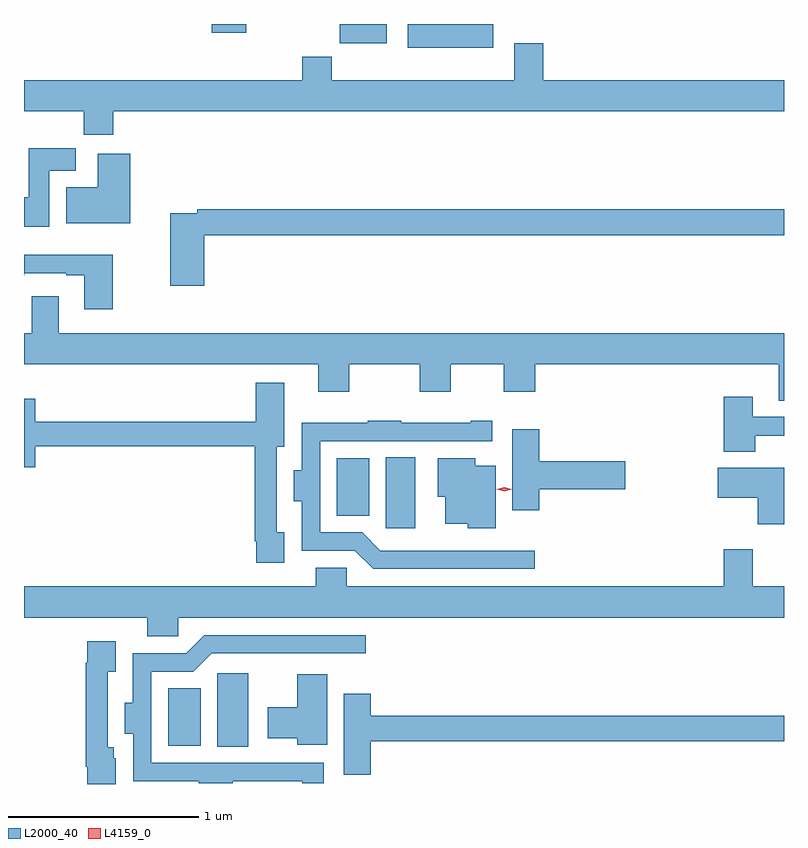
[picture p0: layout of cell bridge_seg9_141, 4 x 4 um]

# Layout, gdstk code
import gdstk
lib = gdstk.Library(unit=1e-6, precision=1e-09)
def R(c, l, rs):  # rectangles x0, y0, x1, y1
    for r in rs: c.add(gdstk.rectangle(r[:2], r[2:], *l))
def P(c, l, *ps):  # polygons
    for p in ps: c.add(gdstk.Polygon(p, *l))
L2000_40 = (2000, 40)
L4159_0 = (4159, 0)

bridge_seg9_141 = lib.new_cell('bridge_seg9_141')
R(bridge_seg9_141, L2000_40, [(425.324,1197.073,425.488,1197.46), (425.066,1197.077,425.236,1197.379), (426.212,1198.221,426.367,1198.595), (425.954,1198.289,426.124,1198.591), (426.327,1200.752,426.778,1200.876), (425.968,1200.774,426.217,1200.876), (425.294,1200.831,425.477,1200.876)])
P(bridge_seg9_141, L2000_40, [(424.778,1200.416),(428.307,1200.416),(428.307,1200.58),(427.04,1200.58),(427.04,1200.775),(426.887,1200.775),(426.887,1200.58),(425.927,1200.58),(425.927,1200.704),(425.771,1200.704),(425.771,1200.58),(424.307,1200.58),(424.307,1200.416),(424.621,1200.416),(424.621,1200.292),(424.778,1200.292)],
  [(424.441,1200.104),(424.58,1200.104),(424.58,1200.223),(424.331,1200.223),(424.331,1199.964),(424.307,1199.964),(424.307,1199.808),(424.441,1199.808)],
  [(424.865,1200.193),(424.694,1200.193),(424.694,1200.016),(424.529,1200.016),(424.529,1199.828),(424.865,1199.828)],
  [(425.255,1199.764),(428.307,1199.764),(428.307,1199.9),(425.218,1199.9),(425.218,1199.88),(425.077,1199.88),(425.077,1199.499),(425.255,1199.499)],
  [(424.773,1199.662),(424.307,1199.662),(424.307,1199.553),(424.309,1199.553),(424.309,1199.565),(424.529,1199.565),(424.529,1199.553),(424.625,1199.553),(424.625,1199.376),(424.773,1199.376)],
  [(428.307,1199.248),(424.489,1199.248),(424.489,1199.443),(424.349,1199.443),(424.349,1199.248),(424.307,1199.248),(424.307,1199.084),(425.855,1199.084),(425.855,1198.941),(426.019,1198.941),(426.019,1199.084),(426.389,1199.084),(426.389,1198.941),(426.553,1198.941),(426.553,1199.084),(426.833,1199.084),(426.833,1198.941),(426.997,1198.941),(426.997,1199.084),(428.279,1199.084),(428.279,1198.894),(428.307,1198.894)],
  [(425.677,1198.201),(425.637,1198.201),(425.637,1198.652),(425.677,1198.652),(425.677,1198.987),(425.528,1198.987),(425.528,1198.783),(424.367,1198.783),(424.367,1198.903),(424.307,1198.903),(424.307,1198.542),(424.367,1198.542),(424.367,1198.654),(425.521,1198.654),(425.521,1198.153),(425.529,1198.153),(425.529,1198.041),(425.677,1198.041)],
  [(428.156,1198.71),(428.307,1198.71),(428.307,1198.809),(428.143,1198.809),(428.143,1198.915),(427.991,1198.915),(427.991,1198.625),(428.156,1198.625)],
  [(426.994,1198.104),(426.183,1198.104),(426.087,1198.2),(425.865,1198.2),(425.865,1198.68),(426.772,1198.68),(426.772,1198.789),(426.659,1198.789),(426.659,1198.777),(426.293,1198.777),(426.293,1198.789),(426.115,1198.789),(426.115,1198.777),(425.769,1198.777),(425.769,1198.528),(425.726,1198.528),(425.726,1198.364),(425.768,1198.364),(425.768,1198.104),(426.048,1198.104),(426.144,1198.008),(426.994,1198.008)],
  [(427.019,1198.427),(427.471,1198.427),(427.471,1198.574),(427.019,1198.574),(427.019,1198.744),(426.878,1198.744),(426.878,1198.317),(427.019,1198.317)],
  [(426.79,1198.552),(426.682,1198.552),(426.682,1198.591),(426.485,1198.591),(426.485,1198.388),(426.524,1198.388),(426.524,1198.247),(426.642,1198.247),(426.642,1198.223),(426.79,1198.223)],
  [(428.307,1198.54),(427.959,1198.54),(427.959,1198.382),(428.168,1198.382),(428.168,1198.242),(428.307,1198.242)],
  [(425.118,1197.752),(428.307,1197.752),(428.307,1197.916),(428.143,1197.916),(428.143,1198.111),(427.991,1198.111),(427.991,1197.916),(426.006,1197.916),(426.006,1198.014),(425.843,1198.014),(425.843,1197.916),(424.307,1197.916),(424.307,1197.752),(424.955,1197.752),(424.955,1197.654),(425.118,1197.654)],
  [(425.405,1196.891),(425.771,1196.891),(425.771,1196.88),(425.884,1196.88),(425.884,1196.988),(424.977,1196.988),(424.977,1197.468),(425.199,1197.468),(425.295,1197.564),(426.106,1197.564),(426.106,1197.66),(425.256,1197.66),(425.16,1197.564),(424.88,1197.564),(424.88,1197.304),(424.838,1197.304),(424.838,1197.14),(424.881,1197.14),(424.881,1196.891),(425.227,1196.891),(425.227,1196.88),(425.405,1196.88)],
  [(424.789,1197.012),(424.78,1197.012),(424.78,1197.07),(424.749,1197.07),(424.749,1197.467),(424.789,1197.467),(424.789,1197.628),(424.641,1197.628),(424.641,1197.515),(424.633,1197.515),(424.633,1196.966),(424.64,1196.966),(424.64,1196.876),(424.789,1196.876)],
  [(425.902,1197.454),(425.744,1197.454),(425.744,1197.28),(425.589,1197.28),(425.589,1197.116),(425.744,1197.116),(425.744,1197.083),(425.902,1197.083)],
  [(426.131,1197.1),(428.307,1197.1),(428.307,1197.236),(426.131,1197.236),(426.131,1197.352),(425.99,1197.352),(425.99,1196.925),(426.131,1196.925)])
P(bridge_seg9_141, L4159_0, [(426.835,1198.418),(426.796,1198.428),(426.796,1198.428),(426.796,1198.428),(426.835,1198.438),(426.873,1198.428),(426.873,1198.428),(426.873,1198.428)])

lib.write_gds('bridge_seg9_141.gds')
